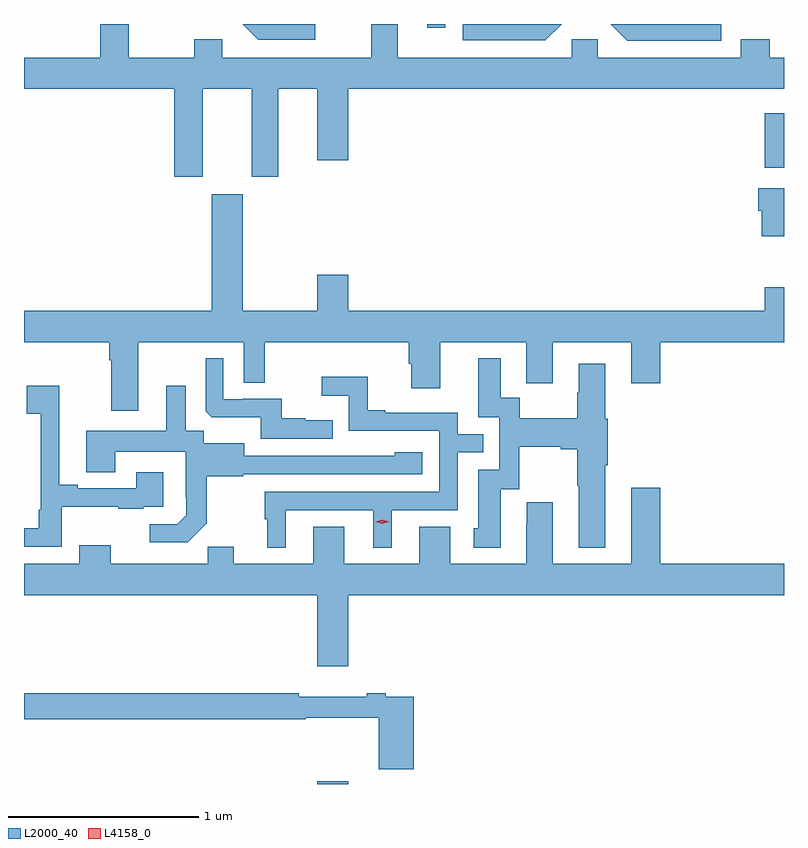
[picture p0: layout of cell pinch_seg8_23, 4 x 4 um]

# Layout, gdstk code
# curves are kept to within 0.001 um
import gdstk
lib = gdstk.Library(unit=1e-6, precision=1e-09)
def R(c, l, rs):  # rectangles x0, y0, x1, y1
    for r in rs: c.add(gdstk.rectangle(r[:2], r[2:], *l))
def P(c, l, *ps):  # polygons
    for p in ps: c.add(gdstk.Polygon(p, *l))
L2000_40 = (2000, 40)
L4158_0 = (4158, 0)

pinch_seg8_23 = lib.new_cell('pinch_seg8_23')
R(pinch_seg8_23, L2000_40, [(1112.06,1150.138,1112.224,1150.153), (1114.415,1153.382,1114.517,1153.669), (1112.639,1154.118,1112.735,1154.138)])
P(pinch_seg8_23, L2000_40, [(1114.188,1154.138),(1113.604,1154.138),(1113.691,1154.051),(1114.188,1154.051)],
  [(1113.347,1154.138),(1112.826,1154.138),(1112.826,1154.052),(1113.261,1154.052)],
  [(1112.05,1154.138),(1111.667,1154.138),(1111.749,1154.055),(1112.05,1154.055)],
  [(1111.459,1153.796),(1111.715,1153.796),(1111.715,1153.335),(1111.855,1153.335),(1111.855,1153.796),(1112.06,1153.796),(1112.06,1153.422),(1112.224,1153.422),(1112.224,1153.796),(1114.517,1153.796),(1114.517,1153.96),(1114.442,1153.96),(1114.442,1154.059),(1114.289,1154.059),(1114.289,1153.96),(1113.537,1153.96),(1113.537,1154.058),(1113.399,1154.058),(1113.399,1153.96),(1112.485,1153.96),(1112.485,1154.138),(1112.345,1154.138),(1112.345,1153.96),(1111.561,1153.96),(1111.561,1154.059),(1111.414,1154.059),(1111.414,1153.96),(1111.069,1153.96),(1111.069,1154.138),(1110.917,1154.138),(1110.917,1153.96),(1110.517,1153.96),(1110.517,1153.796),(1111.307,1153.796),(1111.307,1153.335),(1111.459,1153.335)],
  [(1114.517,1153.273),(1114.382,1153.273),(1114.382,1153.155),(1114.4,1153.155),(1114.4,1153.022),(1114.517,1153.022)],
  [(1111.117,1152.464),(1111.674,1152.464),(1111.674,1152.25),(1111.783,1152.25),(1111.783,1152.464),(1112.543,1152.464),(1112.543,1152.351),(1112.555,1152.351),(1112.555,1152.222),(1112.707,1152.222),(1112.707,1152.464),(1113.161,1152.464),(1113.161,1152.246),(1113.301,1152.246),(1113.301,1152.464),(1113.713,1152.464),(1113.713,1152.246),(1113.866,1152.246),(1113.866,1152.464),(1114.517,1152.464),(1114.517,1152.752),(1114.415,1152.752),(1114.415,1152.628),(1112.224,1152.628),(1112.224,1152.817),(1112.06,1152.817),(1112.06,1152.628),(1111.669,1152.628),(1111.669,1153.243),(1111.505,1153.243),(1111.505,1152.628),(1110.517,1152.628),(1110.517,1152.464),(1110.965,1152.464),(1110.965,1152.368),(1110.977,1152.368),(1110.977,1152.102),(1111.117,1152.102)],
  [(1113.577,1151.816),(1113.59,1151.816),(1113.59,1152.06),(1113.577,1152.06),(1113.577,1152.349),(1113.437,1152.349),(1113.437,1152.198),(1113.43,1152.198),(1113.43,1152.064),(1113.127,1152.064),(1113.127,1152.17),(1113.025,1152.17),(1113.025,1152.379),(1112.909,1152.379),(1112.909,1152.069),(1113.018,1152.069),(1113.018,1151.793),(1112.909,1151.793),(1112.909,1151.484),(1112.885,1151.484),(1112.885,1151.382),(1113.025,1151.382),(1113.025,1151.69),(1113.123,1151.69),(1113.123,1151.912),(1113.341,1151.912),(1113.341,1151.9),(1113.43,1151.9),(1113.43,1151.707),(1113.437,1151.707),(1113.437,1151.381),(1113.577,1151.381)],
  [(1112.141,1152.052),(1111.997,1152.052),(1111.997,1152.064),(1111.874,1152.064),(1111.874,1152.165),(1111.666,1152.165),(1111.666,1152.162),(1111.566,1152.162),(1111.566,1152.379),(1111.473,1152.379),(1111.473,1152.099),(1111.505,1152.068),(1111.764,1152.068),(1111.764,1151.955),(1112.141,1151.955)],
  [(1111.894,1151.58),(1112.354,1151.58),(1112.354,1151.381),(1112.452,1151.381),(1112.452,1151.58),(1112.799,1151.58),(1112.799,1151.883),(1112.933,1151.883),(1112.933,1151.979),(1112.799,1151.979),(1112.799,1152.093),(1112.419,1152.093),(1112.419,1152.106),(1112.325,1152.106),(1112.325,1152.281),(1112.085,1152.281),(1112.085,1152.182),(1112.226,1152.182),(1112.226,1151.997),(1112.703,1151.997),(1112.703,1151.676),(1111.785,1151.676),(1111.785,1151.532),(1111.796,1151.532),(1111.796,1151.381),(1111.894,1151.381)],
  [(1110.715,1151.597),(1111.013,1151.597),(1111.013,1151.586),(1111.145,1151.586),(1111.145,1151.598),(1111.249,1151.598),(1111.249,1151.779),(1111.109,1151.779),(1111.109,1151.694),(1110.799,1151.694),(1110.799,1151.713),(1110.703,1151.713),(1110.703,1152.235),(1110.531,1152.235),(1110.531,1152.086),(1110.606,1152.086),(1110.606,1151.581),(1110.594,1151.581),(1110.594,1151.485),(1110.517,1151.485),(1110.517,1151.388),(1110.715,1151.388)],
  [(1111.479,1151.511),(1111.479,1151.757),(1111.671,1151.757),(1111.671,1151.769),(1112.614,1151.769),(1112.614,1151.884),(1112.469,1151.884),(1112.469,1151.866),(1111.675,1151.865),(1111.675,1151.932),(1111.464,1151.932),(1111.464,1151.996),(1111.369,1151.996),(1111.369,1152.235),(1111.265,1152.235),(1111.265,1151.998),(1110.845,1151.998),(1110.845,1151.779),(1110.997,1151.779),(1110.997,1151.888),(1111.368,1151.888),(1111.368,1151.647),(1111.37,1151.647),(1111.37,1151.552),(1111.323,1151.505),(1111.179,1151.505),(1111.179,1151.411),(1111.379,1151.411)],
  [(1110.809,1151.395),(1110.809,1151.296),(1110.517,1151.296),(1110.517,1151.132),(1112.06,1151.132),(1112.06,1150.758),(1112.224,1150.758),(1112.224,1151.132),(1114.517,1151.132),(1114.517,1151.296),(1113.866,1151.296),(1113.866,1151.698),(1113.713,1151.698),(1113.713,1151.296),(1113.301,1151.296),(1113.301,1151.62),(1113.164,1151.62),(1113.164,1151.507),(1113.161,1151.507),(1113.161,1151.296),(1112.761,1151.296),(1112.761,1151.491),(1112.597,1151.491),(1112.597,1151.296),(1112.203,1151.296),(1112.203,1151.491),(1112.039,1151.491),(1112.039,1151.296),(1111.621,1151.296),(1111.621,1151.387),(1111.483,1151.387),(1111.483,1151.296),(1110.973,1151.296),(1110.973,1151.395)],
  [(1112.567,1150.596),(1112.42,1150.596),(1112.42,1150.616),(1112.32,1150.616),(1112.32,1150.597),(1111.964,1150.597),(1111.964,1150.616),(1110.517,1150.616),(1110.517,1150.48),(1112,1150.48),(1112,1150.488),(1112.384,1150.488),(1112.384,1150.215),(1112.567,1150.215)])
P(pinch_seg8_23, L4158_0, [(1112.403,1151.508),(1112.367,1151.518),(1112.367,1151.518),(1112.367,1151.519),(1112.403,1151.528),(1112.439,1151.519),(1112.439,1151.518),(1112.439,1151.518)])

lib.write_gds('pinch_seg8_23.gds')
